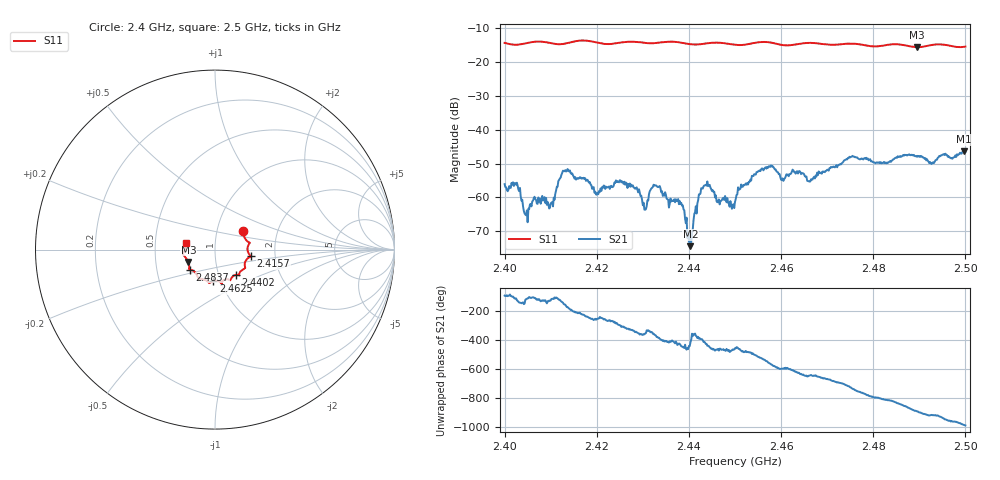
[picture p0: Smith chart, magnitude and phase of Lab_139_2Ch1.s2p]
# Hz S RI R 50
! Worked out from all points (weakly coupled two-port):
!   601 points, 2.4 GHz to 2.5 GHz, reference 50 ohm
!   highest |S21| = -46.45 dB at 2.4997 GHz (marker M1); lowest = -74.3 dB at 2.4403 GHz (marker M2)
!   lowest |S11| = -15.7 dB at 2.4895 GHz (marker M3), VSWR 1.39, Z = 36.8 - j5.19 ohm
!   |S11| at or under -10 dB: start of sweep to end of sweep
!   S12 and S22 are empty: the file has one direction only
!   S11 on the Smith chart (normalised r, x): 2.4 GHz: 1.34, +0.29; 2.4157 GHz: 1.49, -0.11; 2.4402 GHz: 1.20, -0.35; 2.4625 GHz: 0.92, -0.34; 2.4837 GHz: 0.74, -0.17; 2.5 GHz: 0.72, +0.05
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2.4e9  0.1569 0.1055  -0.000169 -0.00156  0 0  0 0
2.402833e9  0.1662 0.0636  -0.00102 -0.00108  0 0  0 0
2.404667e9  0.1819 0.0448  -0.000279 -0.000471  0 0  0 0
2.41e9  0.186 0.0255  -0.000517 -0.000634  0 0  0 0
2.413167e9  0.1844 -0.0138  -0.00235 -0.000923  0 0  0 0
2.415667e9  0.1986 -0.0363  -0.00157 0.00104  0 0  0 0
2.416667e9  0.2014 -0.0397  -0.00141 0.00127  0 0  0 0
2.430333e9  0.1528 -0.1129  0.000663 -3.11e-05  0 0  0 0
2.433333e9  0.1359 -0.1334  0.00128 -0.000621  0 0  0 0
2.4385e9  0.1273 -0.1406  4.09e-05 -0.000755  0 0  0 0
2.440167e9  0.1144 -0.1407  3.26e-05 -0.000295  0 0  0 0
2.440333e9  0.1132 -0.1411  0.000103 -0.000162  0 0  0 0
2.4435e9  0.0903 -0.1612  0.000759 -0.0013  0 0  0 0
2.45e9  0.0639 -0.1659  -0.000123 -0.000855  0 0  0 0
2.4555e9  0.038 -0.1906  -0.00234 -0.0007  0 0  0 0
2.4625e9  -0.00993 -0.1766  -0.00095 0.00239  0 0  0 0
2.466667e9  -0.0331 -0.1862  0.000487 0.00178  0 0  0 0
2.483333e9  -0.1381 -0.1122  -0.000289 -0.00329  0 0  0 0
2.483667e9  -0.1401 -0.1117  -0.000461 -0.0034  0 0  0 0
2.4895e9  -0.1484 -0.0687  -0.00394 -0.000545  0 0  0 0
2.499667e9  -0.1626 0.0309  -0.000403 0.00474  0 0  0 0
2.5e9  -0.163 0.0363  -8.55e-05 0.00474  0 0  0 0
